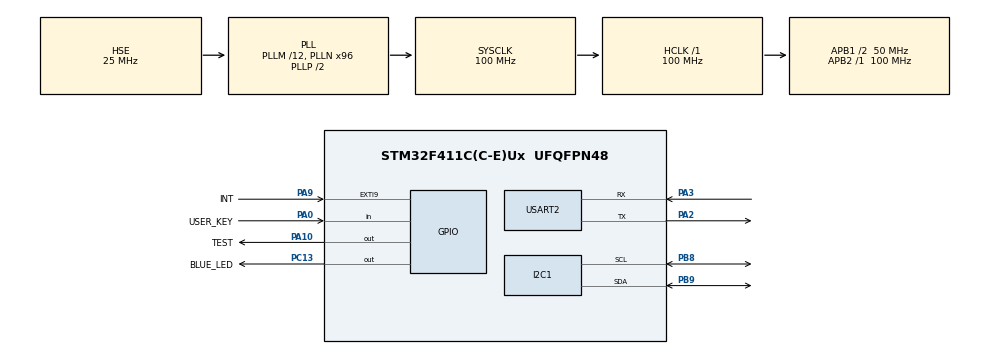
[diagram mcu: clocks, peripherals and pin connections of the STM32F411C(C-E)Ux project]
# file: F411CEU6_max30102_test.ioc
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I2C1.I2C_Mode=I2C_Fast
Mcu.Family=STM32F4
Mcu.Name=STM32F411C(C-E)Ux
Mcu.Package=UFQFPN48
NVIC.PriorityGroup=NVIC_PRIORITYGROUP_4
PA0-WKUP.GPIO_Label=USER_KEY
PA0-WKUP.GPIO_PuPd=GPIO_PULLUP
PA0-WKUP.Signal=GPIO_Input
PA10.GPIO_Label=TEST
PA10.Signal=GPIO_Output
PA13.Mode=Serial_Wire
PA13.Signal=SYS_JTMS-SWDIO
PA14.Mode=Serial_Wire
PA14.Signal=SYS_JTCK-SWCLK
PA2.Mode=Asynchronous
PA2.Signal=USART2_TX
PA3.Mode=Asynchronous
PA3.Signal=USART2_RX
PA9.GPIO_Label=INT
PA9.GPIO_ModeDefaultEXTI=GPIO_MODE_IT_FALLING
PA9.Signal=GPXTI9
PB8.Mode=I2C
PB8.Signal=I2C1_SCL
PB9.Mode=I2C
PB9.Signal=I2C1_SDA
PC13-ANTI_TAMP.GPIO_Label=BLUE_LED
PC13-ANTI_TAMP.GPIO_PuPd=GPIO_NOPULL
PC13-ANTI_TAMP.PinState=GPIO_PIN_SET
PC13-ANTI_TAMP.Signal=GPIO_Output
PC14-OSC32_IN.Mode=LSE-External-Oscillator
PC14-OSC32_IN.Signal=RCC_OSC32_IN
PC15-OSC32_OUT.Mode=LSE-External-Oscillator
PC15-OSC32_OUT.Signal=RCC_OSC32_OUT
PH0\ -\ OSC_IN.Mode=HSE-External-Oscillator
PH0\ -\ OSC_IN.Signal=RCC_OSC_IN
PH1\ -\ OSC_OUT.Mode=HSE-External-Oscillator
PH1\ -\ OSC_OUT.Signal=RCC_OSC_OUT
ProjectManager.HeapSize=0x200
ProjectManager.StackSize=0x400
ProjectManager.TargetToolchain=STM32CubeIDE
RCC.48MHZClocksFreq_Value=50000000
RCC.AHBFreq_Value=100000000
RCC.APB1CLKDivider=RCC_HCLK_DIV2
RCC.APB1Freq_Value=50000000
RCC.APB1TimFreq_Value=100000000
RCC.APB2Freq_Value=100000000
RCC.APB2TimFreq_Value=100000000
RCC.CortexFreq_Value=100000000
RCC.HCLKFreq_Value=100000000
RCC.HSE_VALUE=25000000
RCC.HSI_VALUE=16000000
RCC.PLLM=12
RCC.PLLN=96
RCC.PLLSourceVirtual=RCC_PLLSOURCE_HSE
RCC.SYSCLKFreq_VALUE=100000000
RCC.SYSCLKSource=RCC_SYSCLKSOURCE_PLLCLK
RCC.VCOOutputFreq_Value=200000000
USART2.VirtualMode=VM_ASYNC
board=custom

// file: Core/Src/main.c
/* USER CODE BEGIN Header */
/**
  ******************************************************************************
  * @file           : main.c
  * @brief          : Main program body
  ******************************************************************************
  * @attention
  *
  * <h2><center>&copy; Copyright (c) 2021 STMicroelectronics.
  * All rights reserved.</center></h2>
  *
  * This software component is licensed by ST under BSD 3-Clause license,
  * the "License"; You may not use this file except in compliance with the
  * License. You may obtain a copy of the License at:
  *                        opensource.org/licenses/BSD-3-Clause
  *
  ******************************************************************************
  */
/* USER CODE END Header */
#include "main.h"

/* USER CODE BEGIN Includes */
#include "stdio.h"
#include "string.h"
#include "MAX30102/MAX30102.h"
#include "SSD1306/ssd1306.h"
#include "SSD1306/fonts.h"
/* USER CODE END Includes */

I2C_HandleTypeDef hi2c1;

UART_HandleTypeDef huart2;

/* USER CODE BEGIN PV */
char UartBufferValue[32];
char UartBufferTask[32];
char i_string[6];
/* USER CODE END PV */

void SystemClock_Config(void);
static void MX_GPIO_Init(void);
static void MX_I2C1_Init(void);
static void MX_USART2_UART_Init(void);

/* USER CODE BEGIN 0 */
void UART2_SendString(char* s) {
	HAL_UART_Transmit(&huart2, (uint8_t*) s, strlen(s), 1000);
}
/* USER CODE END 0 */

int main(void)
{

  /* MCU Configuration--------------------------------------------------------*/

  /* Reset of all peripherals, Initializes the Flash interface and the Systick. */
  HAL_Init();

  /* Configure the system clock */
  SystemClock_Config();

  /* Initialize all configured peripherals */
  MX_GPIO_Init();
  MX_I2C1_Init();
  MX_USART2_UART_Init();
  /* USER CODE BEGIN 2 */
  UART2_SendString("START\n\r");

  Max30102_Init(&hi2c1);
  ssd1306_Init(&hi2c1);
  /* USER CODE END 2 */

  /* Infinite loop */
  /* USER CODE BEGIN WHILE */
  while (1) {
	Max30102_Task();
	sprintf(UartBufferTask, "%c[2J%c[H", 27, 27);
	UART2_SendString(UartBufferTask);

	sprintf(UartBufferValue, "%d _ %d", Max30102_GetHeartRate(), Max30102_GetSpO2Value());
	UART2_SendString(UartBufferValue);

	// Write data to local screenbuffer
	ssd1306_SetCursor(0, 5);
	ssd1306_WriteString(UartBufferTask, Font_11x18, White);

	ssd1306_SetCursor(0, 36);
	ssd1306_WriteString(UartBufferValue, Font_11x18, White);

	for (int i = 0; i < 100; ++i) {
		ssd1306_SetCursor(90, 0);
		sprintf(i_string, "%d", i);
		ssd1306_WriteString(i_string, Font_11x18, White);
		ssd1306_UpdateScreen(&hi2c1);
	}

	// Copy all data from local screenbuffer to the screen
	ssd1306_UpdateScreen(&hi2c1);

    /* USER CODE END WHILE */

  }
}

void SystemClock_Config(void)
{
  RCC_OscInitTypeDef RCC_OscInitStruct = {0};
  RCC_ClkInitTypeDef RCC_ClkInitStruct = {0};

  /** Configure the main internal regulator output voltage
  */
  __HAL_RCC_PWR_CLK_ENABLE();
  __HAL_PWR_VOLTAGESCALING_CONFIG(PWR_REGULATOR_VOLTAGE_SCALE1);
  /** Initializes the RCC Oscillators according to the specified parameters
  * in the RCC_OscInitTypeDef structure.
  */
  RCC_OscInitStruct.OscillatorType = RCC_OSCILLATORTYPE_HSE;
  RCC_OscInitStruct.HSEState = RCC_HSE_ON;
  RCC_OscInitStruct.PLL.PLLState = RCC_PLL_ON;
  RCC_OscInitStruct.PLL.PLLSource = RCC_PLLSOURCE_HSE;
  RCC_OscInitStruct.PLL.PLLM = 12;
  RCC_OscInitStruct.PLL.PLLN = 96;
  RCC_OscInitStruct.PLL.PLLP = RCC_PLLP_DIV2;
  RCC_OscInitStruct.PLL.PLLQ = 4;
  if (HAL_RCC_OscConfig(&RCC_OscInitStruct) != HAL_OK)
  {
    Error_Handler();
  }
  /** Initializes the CPU, AHB and APB buses clocks
  */
  RCC_ClkInitStruct.ClockType = RCC_CLOCKTYPE_HCLK|RCC_CLOCKTYPE_SYSCLK
                              |RCC_CLOCKTYPE_PCLK1|RCC_CLOCKTYPE_PCLK2;
  RCC_ClkInitStruct.SYSCLKSource = RCC_SYSCLKSOURCE_PLLCLK;
  RCC_ClkInitStruct.AHBCLKDivider = RCC_SYSCLK_DIV1;
  RCC_ClkInitStruct.APB1CLKDivider = RCC_HCLK_DIV2;
  RCC_ClkInitStruct.APB2CLKDivider = RCC_HCLK_DIV1;

  if (HAL_RCC_ClockConfig(&RCC_ClkInitStruct, FLASH_LATENCY_3) != HAL_OK)
  {
    Error_Handler();
  }
}

static void MX_I2C1_Init(void)
{

  hi2c1.Instance = I2C1;
  hi2c1.Init.ClockSpeed = 400000;
  hi2c1.Init.DutyCycle = I2C_DUTYCYCLE_2;
  hi2c1.Init.OwnAddress1 = 0;
  hi2c1.Init.AddressingMode = I2C_ADDRESSINGMODE_7BIT;
  hi2c1.Init.DualAddressMode = I2C_DUALADDRESS_DISABLE;
  hi2c1.Init.OwnAddress2 = 0;
  hi2c1.Init.GeneralCallMode = I2C_GENERALCALL_DISABLE;
  hi2c1.Init.NoStretchMode = I2C_NOSTRETCH_DISABLE;
  if (HAL_I2C_Init(&hi2c1) != HAL_OK)
  {
    Error_Handler();
  }

}

static void MX_USART2_UART_Init(void)
{

  huart2.Instance = USART2;
  huart2.Init.BaudRate = 115200;
  huart2.Init.WordLength = UART_WORDLENGTH_8B;
  huart2.Init.StopBits = UART_STOPBITS_1;
  huart2.Init.Parity = UART_PARITY_NONE;
  huart2.Init.Mode = UART_MODE_TX_RX;
  huart2.Init.HwFlowCtl = UART_HWCONTROL_NONE;
  huart2.Init.OverSampling = UART_OVERSAMPLING_16;
  if (HAL_UART_Init(&huart2) != HAL_OK)
  {
    Error_Handler();
  }

}

static void MX_GPIO_Init(void)
{
  GPIO_InitTypeDef GPIO_InitStruct = {0};

  /* GPIO Ports Clock Enable */
  __HAL_RCC_GPIOC_CLK_ENABLE();
  __HAL_RCC_GPIOH_CLK_ENABLE();
  __HAL_RCC_GPIOA_CLK_ENABLE();
  __HAL_RCC_GPIOB_CLK_ENABLE();

  /*Configure GPIO pin Output Level */
  HAL_GPIO_WritePin(BLUE_LED_GPIO_Port, BLUE_LED_Pin, GPIO_PIN_SET);

  /*Configure GPIO pin Output Level */
  HAL_GPIO_WritePin(TEST_GPIO_Port, TEST_Pin, GPIO_PIN_RESET);

  /*Configure GPIO pin : BLUE_LED_Pin */
  GPIO_InitStruct.Pin = BLUE_LED_Pin;
  GPIO_InitStruct.Mode = GPIO_MODE_OUTPUT_PP;
  GPIO_InitStruct.Pull = GPIO_NOPULL;
  GPIO_InitStruct.Speed = GPIO_SPEED_FREQ_LOW;
  HAL_GPIO_Init(BLUE_LED_GPIO_Port, &GPIO_InitStruct);

  /*Configure GPIO pin : USER_KEY_Pin */
  GPIO_InitStruct.Pin = USER_KEY_Pin;
  GPIO_InitStruct.Mode = GPIO_MODE_INPUT;
  GPIO_InitStruct.Pull = GPIO_PULLUP;
  HAL_GPIO_Init(USER_KEY_GPIO_Port, &GPIO_InitStruct);

  /*Configure GPIO pin : INT_Pin */
  GPIO_InitStruct.Pin = INT_Pin;
  GPIO_InitStruct.Mode = GPIO_MODE_IT_FALLING;
  GPIO_InitStruct.Pull = GPIO_NOPULL;
  HAL_GPIO_Init(INT_GPIO_Port, &GPIO_InitStruct);

  /*Configure GPIO pin : TEST_Pin */
  GPIO_InitStruct.Pin = TEST_Pin;
  GPIO_InitStruct.Mode = GPIO_MODE_OUTPUT_PP;
  GPIO_InitStruct.Pull = GPIO_NOPULL;
  GPIO_InitStruct.Speed = GPIO_SPEED_FREQ_LOW;
  HAL_GPIO_Init(TEST_GPIO_Port, &GPIO_InitStruct);

}

/* USER CODE BEGIN 4 */
void HAL_GPIO_EXTI_Callback(uint16_t GPIO_Pin) {
	if (GPIO_Pin == INT_Pin) {
		Max30102_InterruptCallback();
	}
}
/* USER CODE END 4 */

void Error_Handler(void)
{
  __disable_irq();
  while (1)
  {
  }
}

/************************ (C) COPYRIGHT STMicroelectronics *****END OF FILE****/
